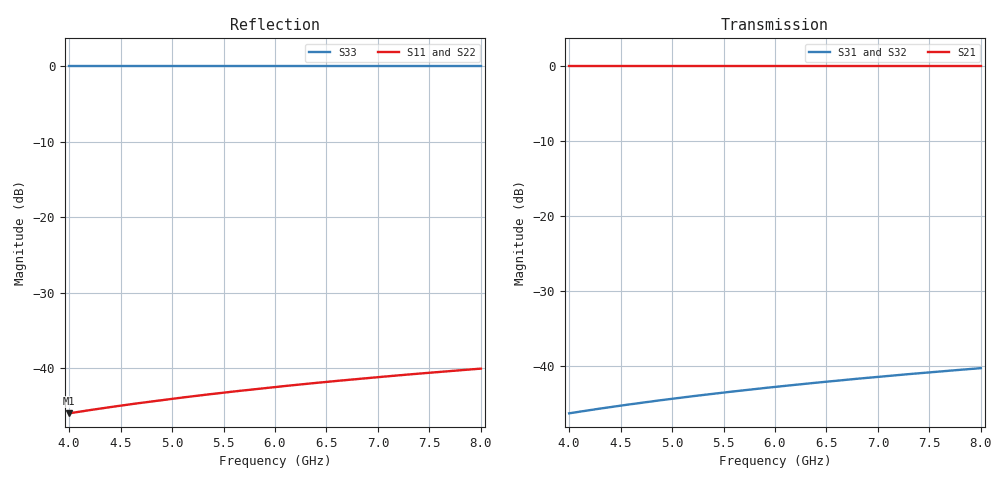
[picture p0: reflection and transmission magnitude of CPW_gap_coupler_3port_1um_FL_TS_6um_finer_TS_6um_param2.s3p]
! Sonnet Data File
! From: em Version : 15.52
! From Project: CPW_gap_coupler_3port_1um_FL_TS_6um_finer
! Data is De-embedded
! Data File Written: 08/14/2018 18:07:51
!< HDATE 08/14/2018 17:46:56
!< MDATE 08/14/2018 17:46:56
!< PARAMS
!< gap = 2.0
!< cpwS = 5.0
!< cpwS1 = 5.0
!< feedW = 12.0
!< feedS1 = 5.0
!< cond_length = 144.0
!< inner_length = 126.0
!< hangerW = 12.0000175
!< open_gap = 22.0
!< coupler_length = 150.0
!< END PARAMS
# GHZ S MA R 50.00000
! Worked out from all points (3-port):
!   201 points, 4 GHz to 8 GHz, reference 50 ohm
!   strongest paths, dB at 4 GHz, 5 GHz, 6 GHz, 7 GHz, 8 GHz:
!     S21: 0.0, 0.0, 0.0, 0.0, 0.0
!     S31: -46.3, -44.4, -42.8, -41.5, -40.3
!     S32: -46.3, -44.4, -42.8, -41.5, -40.3
!   lowest |S11| = -46.0 dB at 4 GHz (marker M1), VSWR 1.01, Z = 50.1 + j0.499 ohm
!   |S11| at or under -10 dB: start of sweep to end of sweep
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4  0.005014 83.5  1 -9.1  0.004833 85.0
   1 -9.1  0.005015 78.5  0.004832 81.3
   0.004833 85.0  0.004832 81.3  1 -4.9
4.44  0.005561 82.8  1 -10.1  0.005365 84.4
      1 -10.1  0.005562 77.2  0.005364 80.3
      0.005365 84.4  0.005364 80.3  1 -5.4
4.9  0.006131 82.1  1 -11.2  0.005921 83.9
     1 -11.2  0.006131 75.9  0.00592 79.3
     0.005921 83.9  0.00592 79.3  1 -6.0
5.16  0.006452 81.7  1 -11.8  0.006235 83.5
      1 -11.8  0.006453 75.1  0.006234 78.7
      0.006235 83.5  0.006234 78.7  1 -6.3
5.46  0.006821 81.2  1 -12.5  0.006598 83.2
      1 -12.5  0.006823 74.3  0.006597 78.1
      0.006598 83.2  0.006597 78.1  1 -6.7
6  0.007485 80.3  0.9999 -13.7  0.007251 82.5
   0.9999 -13.7  0.007487 72.7  0.007249 76.9
   0.007251 82.5  0.007249 76.9  0.9999 -7.4
6.46  0.008047 79.6  0.9999 -14.7  0.007808 81.9
      0.9999 -14.7  0.008049 71.4  0.007805 75.9
      0.007808 81.9  0.007805 75.9  0.9999 -7.9
6.96  0.008656 78.8  0.9999 -15.9  0.008412 81.3
      0.9999 -15.9  0.008658 69.9  0.00841 74.8
      0.008412 81.3  0.00841 74.8  0.9999 -8.5
7.46  0.009261 78.0  0.9999 -17.0  0.009018 80.6
      0.9999 -17.0  0.009264 68.5  0.009014 73.7
      0.009018 80.6  0.009014 73.7  0.9999 -9.1
8  0.009912 77.1  0.9999 -18.2  0.009671 80.0
   0.9999 -18.2  0.009916 66.9  0.009667 72.5
   0.009671 80.0  0.009667 72.5  0.9999 -9.8
